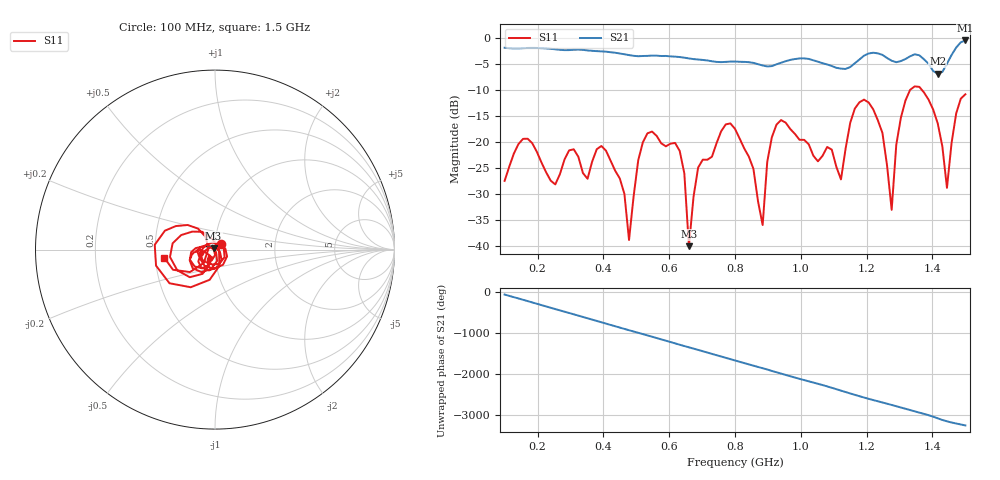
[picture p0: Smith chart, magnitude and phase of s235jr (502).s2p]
! NanoVNA-App
! Date: 2025-09-25 15:08:04
! Start: 100MHz Stop: 1,5GHz Points: 101
! S-Parameter data: F S11 S21 S12 S22
# Hz S RI R 50
!  Frequency  S11_Real  S11_Imag  S21_Real  S21_Imag  S12_Real  S12_Imag  S22_Real  S22_Imag
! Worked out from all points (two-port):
!   101 points, 100 MHz to 1.5 GHz, reference 50 ohm
!   highest |S21| = -0.56 dB at 1.5 GHz (marker M1); lowest = -6.9 dB at 1.416 GHz (marker M2)
!   |S21| within 3 dB of the highest: start of sweep to 502.5 MHz; 512.3 MHz to 595.4 MHz (83.11 MHz wide, 15 % of centre) (the widest 2 of 5)
!   lowest |S11| = -40.0 dB at 660 MHz (marker M3), VSWR 1.02, Z = 49.2 + j0.644 ohm
!   |S11| at or under -10 dB: start of sweep to 1.332 GHz; 1.367 GHz to end of sweep
!   S12 and S22 are empty: the file has one direction only
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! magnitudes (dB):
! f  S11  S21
! 100 MHz  -27.5  -2.0
! 156 MHz  -19.4  -2.0
! 338 MHz  -26.0  -2.4
! 408 MHz  -21.7  -2.7
! 478 MHz  -38.8  -3.4
! 520 MHz  -20.1  -3.5
! 576 MHz  -20.3  -3.5
! 632 MHz  -21.7  -3.7
! 660 MHz  -40.0  -4.0
! 688 MHz  -24.9  -4.2
! 800 MHz  -17.5  -4.6
! 884 MHz  -35.9  -5.4
! 926 MHz  -16.7  -5.1
! 1.038 GHz  -22.6  -4.4
! 1.122 GHz  -27.2  -6.0
! 1.206 GHz  -12.4  -3.1
! 1.276 GHz  -33.0  -4.4
! 1.29 GHz  -20.5  -4.7
! 1.332 GHz  -10.0  -3.6
! 1.416 GHz  -16.5  -6.9
! 1.444 GHz  -28.8  -5.0
! 1.5 GHz  -10.9  -0.6
